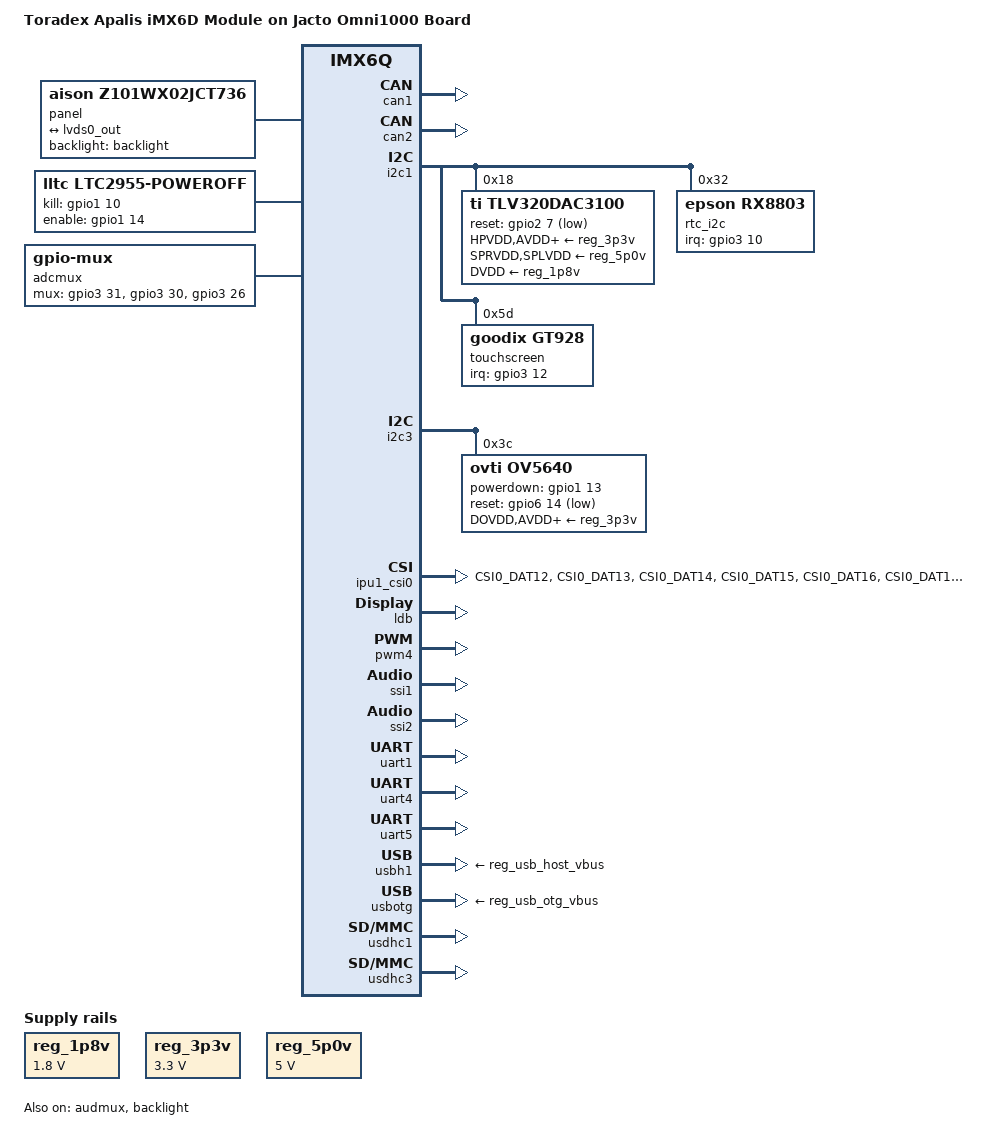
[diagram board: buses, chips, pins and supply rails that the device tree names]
// SPDX-License-Identifier: GPL-2.0+ OR MIT
//
// Copyright 2014-2020 Toradex
// Copyright 2012 Freescale Semiconductor, Inc.
// Copyright 2011 Linaro Ltd.

/dts-v1/;

#include <dt-bindings/gpio/gpio.h>
#include <dt-bindings/input/input.h>
#include <dt-bindings/interrupt-controller/irq.h>
#include <dt-bindings/sound/fsl-imx-audmux.h>
#include "imx6q.dtsi"
#include "imx6qdl-apalis.dtsi"

/ {
	model = "Toradex Apalis iMX6D Module on Jacto Omni1000 Board";
	compatible = "jacto,imx6q-omni1000", "toradex,apalis_imx6q", "fsl,imx6q";

	aliases {
		mmc0 = &usdhc3;
		rtc0 = &rtc_i2c;
		rtc1 = &snvs_rtc;
	};

	chosen {
		stdout-path = &uart1;
	};

	panel {
		compatible = "aison,z101wx02jct736";
		backlight = <&backlight>;

		port {
			panel_in: endpoint {
				remote-endpoint = <&lvds0_out>;
			};
		};
	};

	ltc2955-poweroff {
		compatible = "lltc,ltc2955-poweroff";
		kill-gpios = <&gpio1 10 GPIO_ACTIVE_HIGH>;
		enable-gpios = <&gpio1 14 GPIO_ACTIVE_HIGH>;
		status = "okay";
	};

	adcmux: mux-controller {
		compatible = "gpio-mux";
		#mux-control-cells = <0>;
		pinctrl-names = "default";
		pinctrl-0 = <&pinctrl_adcmux>;
		mux-gpios = <&gpio3 31 GPIO_ACTIVE_HIGH>,
			    <&gpio3 30 GPIO_ACTIVE_HIGH>,
			    <&gpio3 26 GPIO_ACTIVE_HIGH>;
	};

	reg_1p8v: regulator-1p8v {
		compatible = "regulator-fixed";
		regulator-name = "+1.8V_AUD";
		regulator-min-microvolt = <1800000>;
		regulator-max-microvolt = <1800000>;
		regulator-always-on;
	};

	reg_3p3v: regulator-3p3v {
		compatible = "regulator-fixed";
		regulator-name = "+3.3V_AUD";
		regulator-min-microvolt = <3300000>;
		regulator-max-microvolt = <3300000>;
		regulator-always-on;
	};

	reg_5p0v: regulator-5p0v {
		compatible = "regulator-fixed";
		regulator-name = "+5.0V_AUD";
		regulator-min-microvolt = <5000000>;
		regulator-max-microvolt = <5000000>;
		regulator-always-on;
	};

	sound_tlv320 {
		compatible = "simple-audio-card";
		simple-audio-card,name = "tlv320dac3100";
		simple-audio-card,format = "i2s";
		simple-audio-card,bitclock-master = <&sound_codec>;
		simple-audio-card,frame-master = <&sound_codec>;

		sound_cpu: simple-audio-card,cpu {
			sound-dai = <&ssi2>;
		};

		sound_codec: simple-audio-card,codec {
			sound-dai = <&tlv320dac3100>;
			clocks = <&clks IMX6QDL_CLK_CKO>;
		};
	};
};

&audmux {
	pinctrl-names = "default";
	pinctrl-0 = <&pinctrl_audmux5 &pinctrl_audmux>;
	status = "okay";

	ssi2 {
		fsl,audmux-port = <1>;
		fsl,port-config = <
			(IMX_AUDMUX_V2_PTCR_SYN |
			 IMX_AUDMUX_V2_PTCR_TFSEL(4) |
			 IMX_AUDMUX_V2_PTCR_TCSEL(4) |
			 IMX_AUDMUX_V2_PTCR_TFSDIR |
			 IMX_AUDMUX_V2_PTCR_TCLKDIR)
			 IMX_AUDMUX_V2_PDCR_RXDSEL(4)
		>;
	};

	aud5 {
		fsl,audmux-port = <4>;
		fsl,port-config = <
			IMX_AUDMUX_V2_PTCR_SYN
			IMX_AUDMUX_V2_PDCR_RXDSEL(1)
		>;
	};
};

&backlight {
	brightness-levels = <0 255>;
	num-interpolated-steps = <255>;
	default-brightness-level = <255>;
	pwms = <&pwm4 0 50000 0>;
	status = "okay";
};

&can1 {
        status = "okay";
};

&can2 {
        status = "okay";
};

&clks {
	assigned-clocks = <&clks IMX6QDL_CLK_LDB_DI0_SEL>,
			  <&clks IMX6QDL_CLK_LDB_DI1_SEL>,
			  <&clks IMX6QDL_CLK_IPU1_DI0_PRE_SEL>,
			  <&clks IMX6QDL_CLK_IPU2_DI0_PRE_SEL>;
	assigned-clock-parents = <&clks IMX6QDL_CLK_PLL5_VIDEO_DIV>,
				 <&clks IMX6QDL_CLK_PLL5_VIDEO_DIV>,
				 <&clks IMX6QDL_CLK_PLL2_PFD2_396M>,
				 <&clks IMX6QDL_CLK_PLL2_PFD2_396M>;
};

/* Limits the operation at 100Mbps.
 * Unstable behavior is seen at 1Gbps on the imx6q-omni1000 board.
 */
&ethphy {
	max-speed = <100>;
};

&gpio1 {
	gpio-line-names = "", "", "", "", "", "", "", "",
			"", "", "", "", "", "", "", "BUTTON_PWR_ST",
			"", "", "", "", "", "", "", "",
			"", "", "", "", "", "", "", "";
};

&gpio2 {
	gpio-line-names = "", "", "", "", "", "", "", "",
			"", "", "", "", "", "OUTPUT1_VCC_CTL", "", "",
			"", "IGNITION_WAKEUP_ST", "MODEM_USBPWR_CTL", "", "",
			"", "", "", "", "", "", "", "HW_REV2", "HW_REV1", "",
			"PUE_DIG_CTL";
};

&gpio3 {
	gpio-line-names = "HW_REV0", "", "MODEM_PWR_ST", "MODEM_SWRDY_ST",
			"MODEM_PWRON_CTL", "MODEM_HWSHUTDOWN_CTL", "", "","",
			"CAMERAEXT_PWRON_CTL", "", "", "", "", "", "", "", "",
			"", "", "", "", "", "INPUT1_DIG_ST", "", "", "", "",
			"", "", "", "";
};

&i2c1 {
        status = "okay";

	tlv320dac3100: codec@18 {
		compatible = "ti,tlv320dac3100";
		reg = <0x18>;
		pinctrl-names = "default";
		#sound-dai-cells = <0>;
		pinctrl-0 = <&pinctrl_apalis_gpio4>;
		reset-gpios = <&gpio2 7 GPIO_ACTIVE_LOW>;
		HPVDD-supply = <&reg_3p3v>;
		SPRVDD-supply = <&reg_5p0v>;
		SPLVDD-supply = <&reg_5p0v>;
		AVDD-supply = <&reg_3p3v>;
		IOVDD-supply = <&reg_3p3v>;
		DVDD-supply = <&reg_1p8v>;
		status = "okay";
	};

        rtc_i2c: rtc@32 {
		compatible = "epson,rx8803";
		reg = <0x32>;
		pinctrl-names = "default";
		pinctrl-0 = <&pinctrl_rtc>;
		interrupt-parent = <&gpio3>;
		interrupts = <10 IRQ_TYPE_LEVEL_HIGH>;
	};

	touchscreen@5d {
		compatible = "goodix,gt928";
		reg = <0x5d>;
		pinctrl-names = "default";
		pinctrl-0 = <&pinctrl_touchscreen>;
		interrupt-parent = <&gpio3>;
		interrupts = <12 IRQ_TYPE_EDGE_FALLING>;
		irq-gpios = <&gpio3 12 GPIO_ACTIVE_HIGH>;
		status = "okay";
	};
};

&i2c3 {
	status = "okay";

	ov5640: camera@3c {
		compatible = "ovti,ov5640";
		pinctrl-names = "default";
		pinctrl-0 = <&pinctrl_ov5640>;
		reg = <0x3c>;
		clocks = <&clks IMX6QDL_CLK_CKO2>;
		clock-names = "xclk";
		DOVDD-supply = <&reg_3p3v>;
		AVDD-supply = <&reg_3p3v>;
		DVDD-supply = <&reg_3p3v>;
		powerdown-gpios = <&gpio1 13 GPIO_ACTIVE_HIGH>;
		reset-gpios = <&gpio6 14 GPIO_ACTIVE_LOW>;
	};
};

&ipu1_csi0 {
	pinctrl-names = "default";
	pinctrl-0 = <&pinctrl_csi>;
};

&ldb {
	status = "okay";

	lvds-channel@0 {
		reg = <0>;
		fsl,data-mapping = "spwg";
		fsl,data-width = <24>;
		status = "okay";

		port@4 {
			reg = <4>;

			lvds0_out: endpoint {
				remote-endpoint = <&panel_in>;
			};
		};
	};
};

&pwm4 {
	status = "okay";
};

&reg_usb_host_vbus {
	status = "okay";
};

&reg_usb_otg_vbus {
	status = "okay";
};

&ssi1 {
	status = "okay";
};

&ssi2 {
	status = "okay";
};

&uart1 {
	fsl,dte-mode;
	pinctrl-names = "default";
	pinctrl-0 = <&pinctrl_uart1_dte>;
	/delete-property/ uart-has-rtscts;
	status = "okay";
};

&uart4 {
	status = "okay";
};

&uart5 {
	status = "okay";
};

&usbh1 {
	vbus-supply = <&reg_usb_host_vbus>;
	status = "okay";
};

&usbotg {
	vbus-supply = <&reg_usb_otg_vbus>;
	status = "okay";
};

&usdhc1 {
	status = "okay";
};

&usdhc3 {
	status = "okay";
};

&iomuxc {
	pinctrl-names = "default";
	pinctrl-0 = <&pinctrl_hog>;

	pinctrl_hog: hoggrp {
		fsl,pins = <
			MX6QDL_PAD_EIM_EB1__GPIO2_IO29 	0x130b0 /* CSI mux */
			MX6QDL_PAD_EIM_EB0__GPIO2_IO28	0x130b0 /* CSI enable */
			MX6QDL_PAD_SD4_DAT5__GPIO2_IO13	0x130b0
			MX6QDL_PAD_EIM_DA9__GPIO3_IO09 	0x130b0
			MX6QDL_PAD_EIM_A21__GPIO2_IO17	0x80000000
			MX6QDL_PAD_SD2_CLK__GPIO1_IO10	0x80000000
			MX6QDL_PAD_EIM_A20__GPIO2_IO18	0x130b0
			MX6QDL_PAD_EIM_DA5__GPIO3_IO05	0x130b0
			MX6QDL_PAD_EIM_DA4__GPIO3_IO04	0x130b0
			MX6QDL_PAD_EIM_DA3__GPIO3_IO03	0x1b0b0
			MX6QDL_PAD_EIM_DA2__GPIO3_IO02	0x1b0b0
			MX6QDL_PAD_NANDF_D4__GPIO2_IO04 0x130b0
			MX6QDL_PAD_NANDF_D5__GPIO2_IO05 0x130b0
			MX6QDL_PAD_NANDF_D6__GPIO2_IO06 0x130b0
			MX6QDL_PAD_NANDF_RB0__GPIO6_IO10 0x130b0
			MX6QDL_PAD_EIM_EB3__GPIO2_IO31  0x1b0b0
			MX6QDL_PAD_EIM_DA0__GPIO3_IO00  0x130b0
			MX6QDL_PAD_EIM_EB1__GPIO2_IO29  0x130b0
			MX6QDL_PAD_EIM_EB0__GPIO2_IO28  0x130b0
			MX6QDL_PAD_EIM_D23__GPIO3_IO23 0x80000000
		>;
	};

	pinctrl_audmux5: audmux5grp {
		fsl,pins = <
			MX6QDL_PAD_DISP0_DAT17__AUD5_TXD	0x130b0
			MX6QDL_PAD_DISP0_DAT18__AUD5_TXFS	0x130b0
			MX6QDL_PAD_DISP0_DAT16__AUD5_TXC	0x130b0
			MX6QDL_PAD_GPIO_19__CCM_CLKO1		0x130b0
		>;
	};

	pinctrl_adcmux: adcmuxgrp {
		fsl,pins = <
			MX6QDL_PAD_EIM_D26__GPIO3_IO26	0x1b0b0
			MX6QDL_PAD_EIM_D30__GPIO3_IO30	0x1b0b0
			MX6QDL_PAD_EIM_D31__GPIO3_IO31	0x1b0b0
		>;
	};

	pinctrl_camera: cameragrp {
		fsl,pins = <
			MX6QDL_PAD_EIM_DA6__GPIO3_IO06	0x130b0
			MX6QDL_PAD_EIM_DA8__GPIO3_IO08	0x1b0b0
			MX6QDL_PAD_EIM_DA7__GPIO3_IO07	0x130b0
		>;
	};

	pinctrl_csi: csigrp {
		fsl,pins = <
			MX6QDL_PAD_CSI0_DAT12__IPU1_CSI0_DATA12  0x1b0b0
			MX6QDL_PAD_CSI0_DAT13__IPU1_CSI0_DATA13  0x1b0b0
			MX6QDL_PAD_CSI0_DAT14__IPU1_CSI0_DATA14  0x1b0b0
			MX6QDL_PAD_CSI0_DAT15__IPU1_CSI0_DATA15  0x1b0b0
			MX6QDL_PAD_CSI0_DAT16__IPU1_CSI0_DATA16  0x1b0b0
			MX6QDL_PAD_CSI0_DAT17__IPU1_CSI0_DATA17  0x1b0b0
			MX6QDL_PAD_CSI0_DAT18__IPU1_CSI0_DATA18  0x1b0b0
			MX6QDL_PAD_CSI0_DAT19__IPU1_CSI0_DATA19  0x1b0b0
			MX6QDL_PAD_CSI0_PIXCLK__IPU1_CSI0_PIXCLK 0x1b0b0
			MX6QDL_PAD_CSI0_MCLK__IPU1_CSI0_HSYNC    0x1b0b0
			MX6QDL_PAD_CSI0_VSYNC__IPU1_CSI0_VSYNC   0x1b0b0
		>;
	};

	pinctrl_ov5640: ov5640_custom {
		fsl,pins = <
			MX6QDL_PAD_NANDF_CS1__GPIO6_IO14	0x1b0b0
			MX6QDL_PAD_SD2_DAT2__GPIO1_IO13	0x130b0
			MX6QDL_PAD_SD2_DAT3__GPIO1_IO12	0x130b0
			MX6QDL_PAD_SD2_CMD__GPIO1_IO11	0x130b0
			MX6QDL_PAD_NANDF_CS2__CCM_CLKO2	0x00b0
		>;
	};

	pinctrl_rtc: rtcgrp {
		fsl,pins = <
		        MX6QDL_PAD_EIM_DA10__GPIO3_IO10 0x1b0b0
	        >;
	};

	pinctrl_touchscreen: touchscreengrp {
		fsl,pins = <
			MX6QDL_PAD_EIM_A16__GPIO2_IO22 0x1b0b0
			MX6QDL_PAD_EIM_DA11__GPIO3_IO11 0x1b0b0
			MX6QDL_PAD_EIM_DA12__GPIO3_IO12 0x130b0
		>;
	};
};
